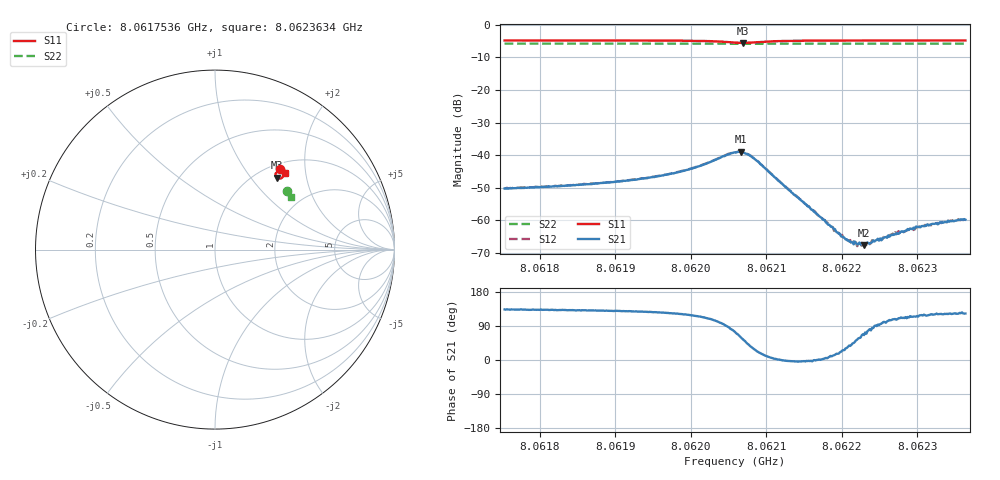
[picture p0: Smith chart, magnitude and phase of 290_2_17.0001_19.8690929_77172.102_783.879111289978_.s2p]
#  HZ  S  RI  R  50.00
! Rohde & Schwarz Vector Network Analyzer
! Rohde-Schwarz,ZNB20-2Port,1311601062101988,3.16
! Created: UTC 3/20/2024, 11:05:04 PM
! freq[Hz]  re:S11  im:S11  re:S21  im:S21  re:S12  im:S12  re:S22  im:S22
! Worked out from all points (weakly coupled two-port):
!   401 points, 8.0617536 GHz to 8.0623634 GHz, reference 50 ohm
!   highest |S21| = -38.89 dB at 8.0620661 GHz (marker M1); lowest = -67.7 dB at 8.0622292 GHz (marker M2)
!   lowest |S11| = -5.5 dB at 8.0620692 GHz (marker M3), VSWR 3.24, Z = 61.1 + j67.9 ohm
!   |S11| at or under -10 dB: nowhere
!   |S22| runs from -5.8 to -5.8 dB; largest |S21 - S12| = 0.00094
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8.06175363e9  0.3614 0.4484  -0.00213 0.00224  -0.00201 0.00238  0.3995 0.3256
8.06185577e9  0.3686 0.4422  -0.00233 0.00266  -0.00218 0.00284  0.4034 0.3205
8.06190912e9  0.3727 0.4379  -0.0025 0.00311  -0.00236 0.00328  0.4054 0.3177
8.0619579e9  0.3771 0.4325  -0.00279 0.00389  -0.00256 0.0041  0.4073 0.3152
8.06200363e9  0.3811 0.4226  -0.00293 0.00566  -0.00258 0.00588  0.4088 0.3125
8.06204936e9  0.3709 0.3983  0.000475 0.0103  0.00114 0.0104  0.4097 0.3095
8.06205851e9  0.3599 0.3952  0.00303 0.0106  0.0038 0.0105  0.4094 0.309
8.06206613e9  0.3489 0.3977  0.00568 0.00985  0.00631 0.00935  0.4091 0.3088
8.06206918e9  0.3449 0.4004  0.00637 0.00883  0.00703 0.00854  0.4092 0.3089
8.06207832e9  0.3379 0.4123  0.00791 0.00595  0.00836 0.00553  0.4093 0.3091
8.06208747e9  0.3381 0.424  0.00755 0.00321  0.00782 0.00278  0.4096 0.3092
8.06216064e9  0.3674 0.4384  0.00146 -9.3e-05  0.00144 -0.000129  0.4138 0.3059
8.0622018e9  0.3739 0.4358  0.000501 0.000244  0.000503 0.000211  0.4155 0.3038
8.06221247e9  0.3753 0.4352  0.000357 0.000297  0.000342 0.000295  0.4159 0.3031
8.06222314e9  0.3764 0.4345  0.000243 0.00039  0.000225 0.000338  0.4162 0.3027
8.06222924e9  0.377 0.4341  0.00017 0.000377  0.000182 0.000401  0.4164 0.3023
8.06226277e9  0.3803 0.4321  -0.000151 0.000542  -0.000104 0.000575  0.4177 0.3006
8.06227344e9  0.3812 0.4312  -0.000193 0.000603  -0.000185 0.000632  0.4181 0.2999
8.06227954e9  0.3816 0.431  -0.000243 0.000638  -0.000201 0.000603  0.4182 0.2996
8.06229783e9  0.383 0.4298  -0.000332 0.000734  -0.000299 0.00071  0.4191 0.2988
8.06232375e9  0.3851 0.4285  -0.000459 0.000769  -0.000378 0.000823  0.4199 0.2973
8.06236338e9  0.3878 0.4261  -0.000557 0.000867  -0.000542 0.000916  0.4214 0.2953
